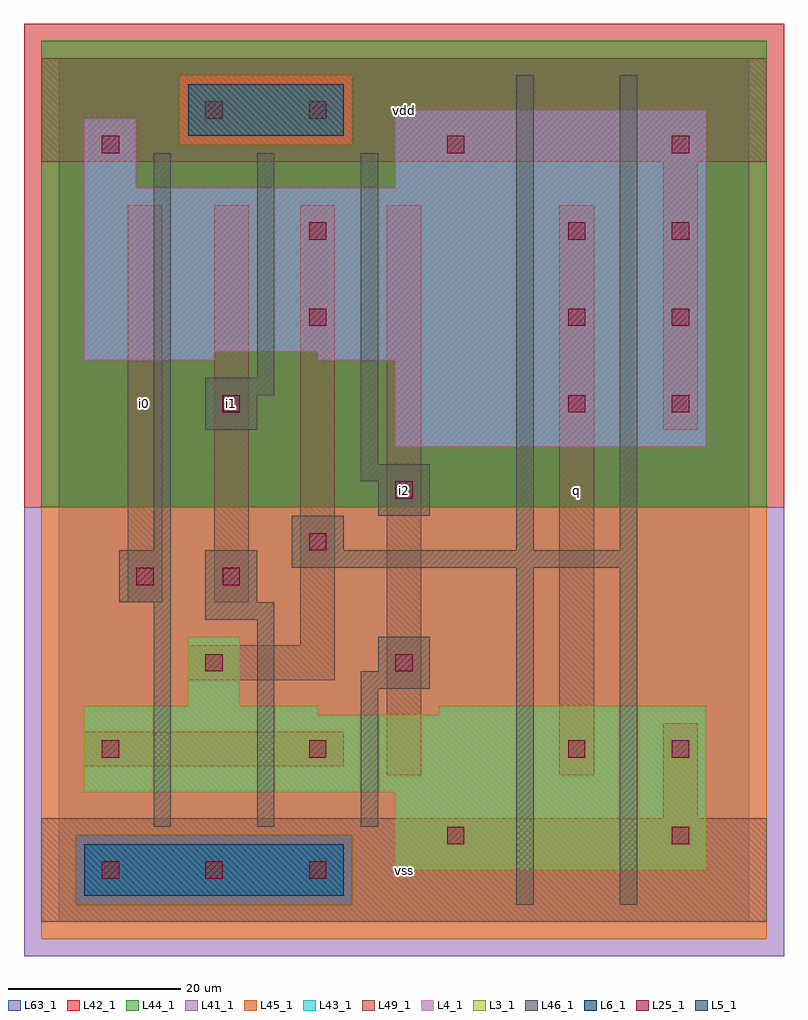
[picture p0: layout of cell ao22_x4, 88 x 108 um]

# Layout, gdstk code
import gdstk
lib = gdstk.Library(unit=1e-6, precision=1e-09)
def R(c, l, rs):  # rectangles x0, y0, x1, y1
    for r in rs: c.add(gdstk.rectangle(r[:2], r[2:], *l))
def A(c, l, x, y, w, h, nx, ny, dx, dy):  # array of equal rectangles
    R(c, l, [(x+i*dx, y+j*dy, x+i*dx+w, y+j*dy+h) for i in range(nx) for j in range(ny)])
L3_1 = (3, 1)
L4_1 = (4, 1)
L5_1 = (5, 1)
L6_1 = (6, 1)
L25_1 = (25, 1)
L41_1 = (41, 1)
L42_1 = (42, 1)
L43_1 = (43, 1)
L44_1 = (44, 1)
L45_1 = (45, 1)
L46_1 = (46, 1)
L49_1 = (49, 1)
L63_1 = (63, 1)

ao22_x4 = lib.new_cell('ao22_x4')
R(ao22_x4, L3_1, [(39,6,75,15), (3,15,75,24), (3,24,30,25), (44,24,75,25), (15,25,21,33)])
R(ao22_x4, L4_1, [(39,55,75,65), (3,65,18,66), (30,65,75,66), (3,66,75,85), (3,85,9,93), (39,85,75,94)])
R(ao22_x4, L5_1, [(15,91,33,97)])
R(ao22_x4, L6_1, [(3,3,33,9), (3,3,33,9)])
A(ao22_x4, L25_1, 5, 5, 2, 2, 3, 1, 12, 0)
A(ao22_x4, L25_1, 59, 59, 2, 2, 1, 3, 0, 10)
A(ao22_x4, L25_1, 71, 59, 2, 2, 1, 4, 0, 10)
R(ao22_x4, L25_1, [(45,9,47,11), (71,9,73,11), (5,19,7,21), (29,19,31,21), (59,19,61,21), (71,19,73,21), (17,29,19,31), (39,29,41,31), (9,39,11,41), (19,39,21,41), (29,43,31,45), (39,49,41,51), (19,59,21,61), (29,69,31,71), (29,79,31,81), (5,89,7,91), (45,89,47,91), (17,93,19,95), (29,93,31,95)])
R(ao22_x4, L41_1, [(-4,-4,84,48)])
R(ao22_x4, L42_1, [(-4,48,84,104)])
R(ao22_x4, L43_1, [(3,3,33,9), (39,6,75,15), (3,15,75,24), (3,24,30,25), (44,24,75,25), (15,25,21,33), (39,55,75,65), (3,65,18,66), (30,65,75,66), (3,66,75,85), (3,85,9,93), (39,85,75,94), (15,91,33,97)])
R(ao22_x4, L44_1, [(2,2,34,10), (-2,48,82,90), (-2,90,14,98), (34,90,82,98), (-2,98,82,102)])
R(ao22_x4, L45_1, [(-2,-2,82,2), (-2,2,2,10), (34,2,82,10), (-2,10,82,48), (14,90,34,98)])
R(ao22_x4, L46_1, [(53,2,55,41), (65,2,67,41), (11,11,13,37), (23,11,25,35), (35,11,37,27), (35,27,43,29), (37,29,43,33), (17,35,25,37), (7,37,13,43), (17,37,23,43), (27,41,67,43), (11,43,13,89), (27,43,33,47), (53,43,55,98), (65,43,67,98), (37,47,43,51), (35,51,43,53), (35,53,37,89), (17,57,23,61), (17,61,25,63), (23,63,25,89)])
R(ao22_x4, L49_1, [(-2,0,82,12), (70,12,74,23), (38,17,42,83), (58,17,62,83), (3,18,33,22), (15,28,32,32), (28,32,32,83), (8,37,12,83), (18,37,22,83), (70,57,74,88), (-2,88,82,100)])
R(ao22_x4, L63_1, [(0,0,80,100)])
ao22_x4.add(gdstk.Label('i0', (10,60), layer=49, texttype=1))
ao22_x4.add(gdstk.Label('i1', (20,60), layer=49, texttype=1))
ao22_x4.add(gdstk.Label('vss', (40,6), layer=49, texttype=1))
ao22_x4.add(gdstk.Label('i2', (40,50), layer=49, texttype=1))
ao22_x4.add(gdstk.Label('vdd', (40,94), layer=49, texttype=1))
ao22_x4.add(gdstk.Label('q', (60,50), layer=49, texttype=1))

lib.write_gds('ao22_x4.gds')
